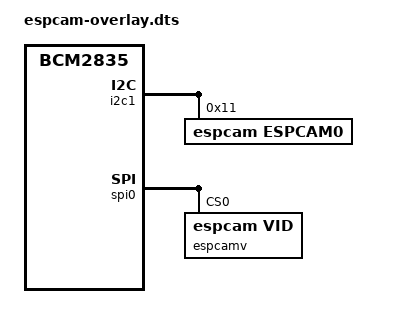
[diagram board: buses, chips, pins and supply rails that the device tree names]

/dts-v1/;
/plugin/;

/ {
	compatible = "brcm,bcm2835";

	fragment@0 {
		target = <&i2c1>;
		__overlay__ {
			#address-cells = <1>;
			#size-cells = <0>;

			espcam@11 {
				compatible = "espcam,espcam0";
				reg = <0x11>;
				status = "okay";
			};
		};
	};

	fragment@1 {
		target = <&spi0>;
		__overlay__ {
			#address-cells = <1>;
			#size-cells = <0>;

			espcamv@0 {
				compatible = "espcam,vid";
				reg = <0>;
			};
		};
	};
};
